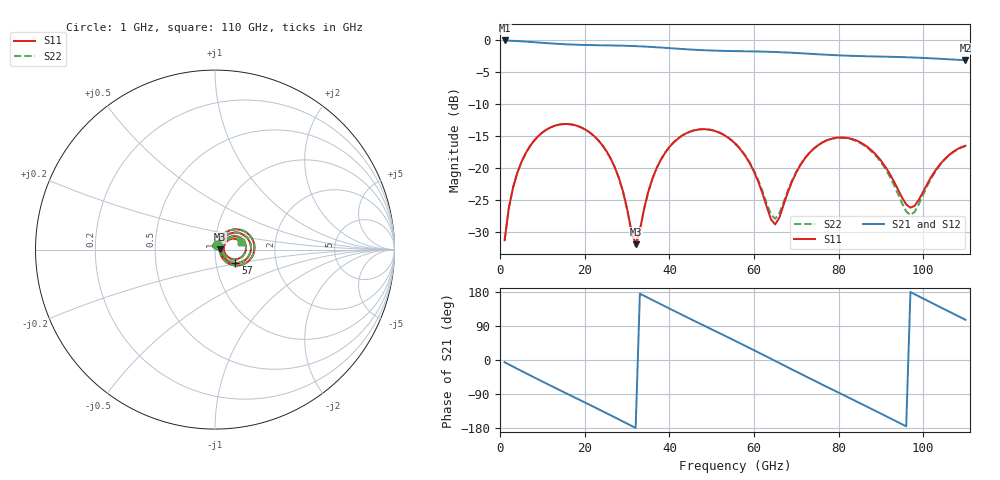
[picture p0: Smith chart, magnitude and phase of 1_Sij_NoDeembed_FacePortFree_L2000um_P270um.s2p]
! Touchstone file exported from HFSS 2024.2.0
!  File:  C:/Users/vaintrug/Documents/Ansoft_Workspace/Comparaison_Calculs_HFSS/1_VarPort.aedt
!  Generated:  03:22:19 PM Jan 21, 2025
!  Design:  1_NoDeembed_FacePortFree
!  Project:  1_VarPort
!  Setup:  Setup1
!  Solution:  Sweep
! Variables:
!  $Lenght = 2000um
!  $PortSize = 270um
!  Gap = 30um
!  Th = 2um
!  X_centralStrip = 20um
!  X_masse = 200um
!  Y_Sub = 2mm
!  Z_Box = 400um
!  Z_Sub = 200um
# GHz S MA R 50.000000
! Terminal data exported
! Port[1] = 1
! Port[2] = 2
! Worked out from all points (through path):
!   110 points, 1 GHz to 110 GHz, reference 50 ohm
!   highest |S21| = -0.13 dB at 1 GHz (marker M1); lowest = -3.2 dB at 110 GHz (marker M2)
!   group delay of S21, straight-line fit = 15.5 ps
!   lowest |S11| = -31.9 dB at 32 GHz (marker M3), VSWR 1.05, Z = 52.6 + j0.146 ohm
!   |S11| at or under -10 dB: start of sweep to end of sweep
!   |S22| runs from -32.1 to -13.1 dB; largest |S21 - S12| = 2e-15
!   S11 on the Smith chart (normalised r, x): 1 GHz: 1.03, +0.05; 57 GHz: 1.24, -0.19; 110 GHz: 1.33, +0.11
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1  0.02748 61.1  0.9854 -5.9  0.9854 -5.9  0.02748 61.1
! Gamma 6.02316738404145 50.0186470327502 6.01858030383168 49.9717536210006
! Port Impedance 50 0 50 0
3  0.0706 65.7  0.9783 -17.4  0.9783 -17.4  0.0706 65.7
7  0.1483 48.7  0.9601 -40.3  0.9601 -40.3  0.1483 48.8
13  0.2144 17.8  0.93 -73.8  0.93 -73.8  0.2145 18.0
20  0.2006 -17.3  0.9088 -112.1  0.9088 -112.1  0.2005 -17.1
27  0.1028 -46.9  0.9 -151.0  0.9 -151.0  0.1025 -46.8
32  0.02555 3.1  0.8899 -179.3  0.8899 -179.3  0.02471 4.3
35  0.06574 53.3  0.88 163.7  0.88 163.7  0.06576 54.7
38  0.1169 47.9  0.8676 146.8  0.8676 146.8  0.1171 49.0
43  0.1791 27.2  0.8455 119.0  0.8455 119.0  0.1796 28.2
47  0.2 8.9  0.8307 97.1  0.8307 97.1  0.2006 10.0
51  0.1934 -9.2  0.8206 75.4  0.8206 75.4  0.1941 -8.0
56  0.1497 -30.1  0.8137 48.0  0.8137 48.0  0.1507 -28.5
57  0.1371 -33.7  0.8127 42.4  0.8127 42.4  0.1381 -32.0
65  0.03648 3.1  0.8012 -2.5  0.8012 -2.5  0.04034 2.9
70  0.09273 42.7  0.7871 -30.7  0.7871 -30.7  0.09392 40.6
74  0.1405 31.6  0.7734 -53.0  0.7734 -53.0  0.1408 30.2
83  0.1694 -4.4  0.7481 -102.6  0.7481 -102.6  0.1679 -5.8
92  0.09157 -30.0  0.7355 -152.5  0.7355 -152.5  0.08748 -32.7
97  0.04925 1.4  0.7274 179.3  0.7274 179.3  0.04315 3.0
103  0.09693 34.9  0.7123 145.4  0.7123 145.4  0.09527 38.1
110  0.1496 15.6  0.692 106.2  0.692 106.2  0.1486 17.0
